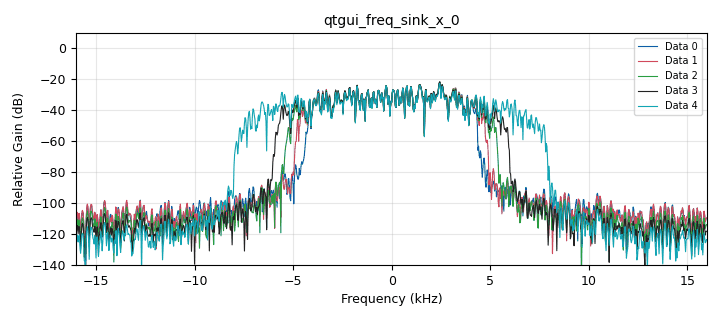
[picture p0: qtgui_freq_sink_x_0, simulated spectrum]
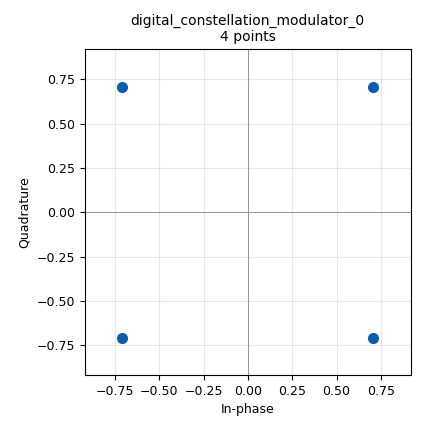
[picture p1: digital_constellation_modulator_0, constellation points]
options:
  parameters:
    author: zehao
    generate_options: qt_gui
    id: mpsk_rrc_rolloff
    output_language: python
    title: Not titled yet
  states: {}

blocks:
- name: qpsk_const
  id: variable_constellation_rect
  parameters:
    const_points: '[-1-1j, -1+1j, 1+1j, 1-1j]'
    imag_sect: '2'
    real_sect: '2'
    rot_sym: '4'
    sym_map: '[0, 1, 3, 2]'
    w_imag_sect: '1'
    w_real_sect: '1'
  states: {}
- name: samp_rate
  id: variable
  parameters:
    value: '32000'
  states: {}
- name: analog_random_source_x_0
  id: analog_random_source_x
  parameters:
    max: '255'
    min: '0'
    num_samps: '1000'
    repeat: 'True'
    type: byte
  states: {}
- name: blocks_throttle_0
  id: blocks_throttle
  parameters:
    samples_per_second: samp_rate
    type: complex
  states: {}
- name: digital_constellation_modulator_0
  id: digital_constellation_modulator
  parameters:
    constellation: qpsk_const
    differential: 'True'
    excess_bw: '0.1'
    samples_per_symbol: '4'
  states: {}
- name: digital_constellation_modulator_0_0
  id: digital_constellation_modulator
  parameters:
    constellation: qpsk_const
    differential: 'True'
    excess_bw: '0.22'
    samples_per_symbol: '4'
  states: {}
- name: digital_constellation_modulator_0_0_0
  id: digital_constellation_modulator
  parameters:
    constellation: qpsk_const
    differential: 'True'
    excess_bw: '0.35'
    samples_per_symbol: '4'
  states: {}
- name: digital_constellation_modulator_0_0_0_0
  id: digital_constellation_modulator
  parameters:
    constellation: qpsk_const
    differential: 'True'
    excess_bw: '0.5'
    samples_per_symbol: '4'
  states: {}
- name: digital_constellation_modulator_0_0_0_0_0
  id: digital_constellation_modulator
  parameters:
    constellation: qpsk_const
    differential: 'True'
    excess_bw: '1'
    samples_per_symbol: '4'
  states: {}
- name: qtgui_freq_sink_x_0
  id: qtgui_freq_sink_x
  parameters:
    bw: samp_rate
    fc: '0'
    fftsize: '1024'
    nconnections: '5'
    type: complex
    wintype: firdes.WIN_BLACKMAN_hARRIS
  states: {}

connections:
- [analog_random_source_x_0, '0', digital_constellation_modulator_0, '0']
- [analog_random_source_x_0, '0', digital_constellation_modulator_0_0, '0']
- [analog_random_source_x_0, '0', digital_constellation_modulator_0_0_0, '0']
- [analog_random_source_x_0, '0', digital_constellation_modulator_0_0_0_0, '0']
- [analog_random_source_x_0, '0', digital_constellation_modulator_0_0_0_0_0, '0']
- [blocks_throttle_0, '0', qtgui_freq_sink_x_0, '0']
- [digital_constellation_modulator_0, '0', blocks_throttle_0, '0']
- [digital_constellation_modulator_0_0, '0', qtgui_freq_sink_x_0, '1']
- [digital_constellation_modulator_0_0_0, '0', qtgui_freq_sink_x_0, '2']
- [digital_constellation_modulator_0_0_0_0, '0', qtgui_freq_sink_x_0, '3']
- [digital_constellation_modulator_0_0_0_0_0, '0', qtgui_freq_sink_x_0, '4']

metadata:
  file_format: 1
